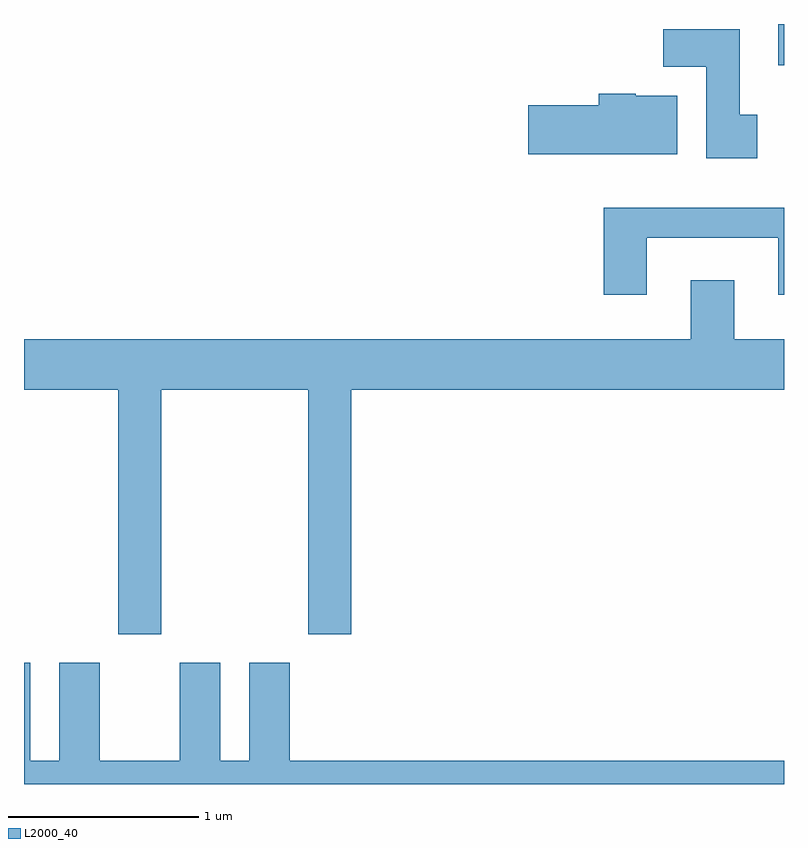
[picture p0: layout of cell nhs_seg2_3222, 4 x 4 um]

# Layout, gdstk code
import gdstk
lib = gdstk.Library(unit=1e-6, precision=1e-09)
def R(c, l, rs):  # rectangles x0, y0, x1, y1
    for r in rs: c.add(gdstk.rectangle(r[:2], r[2:], *l))
def P(c, l, *ps):  # polygons
    for p in ps: c.add(gdstk.Polygon(p, *l))
L2000_40 = (2000, 40)

nhs_seg2_3222 = lib.new_cell('nhs_seg2_3222')
R(nhs_seg2_3222, L2000_40, [(283.581,1045.586,283.611,1045.802)])
P(nhs_seg2_3222, L2000_40, [(283.469,1045.324),(283.379,1045.324),(283.379,1045.774),(282.976,1045.774),(282.976,1045.576),(283.201,1045.576),(283.201,1045.096),(283.469,1045.096)],
  [(283.049,1045.424),(282.83,1045.424),(282.83,1045.434),(282.636,1045.434),(282.636,1045.374),(282.266,1045.374),(282.266,1045.116),(283.049,1045.116)],
  [(282.889,1044.676),(283.581,1044.676),(283.581,1044.376),(283.611,1044.376),(283.611,1044.834),(282.661,1044.834),(282.661,1044.376),(282.889,1044.376)],
  [(280.334,1043.876),(281.106,1043.876),(281.106,1042.591),(281.334,1042.591),(281.334,1043.876),(283.611,1043.876),(283.611,1044.144),(283.349,1044.144),(283.349,1044.454),(283.121,1044.454),(283.121,1044.144),(279.611,1044.144),(279.611,1043.876),(280.106,1043.876),(280.106,1042.591),(280.334,1042.591)],
  [(283.611,1041.924),(281.009,1041.924),(281.009,1042.439),(280.796,1042.439),(280.796,1041.924),(280.644,1041.924),(280.644,1042.439),(280.431,1042.439),(280.431,1041.924),(280.009,1041.924),(280.009,1042.439),(279.796,1042.439),(279.796,1041.924),(279.644,1041.924),(279.644,1042.439),(279.611,1042.439),(279.611,1041.802),(283.611,1041.802)])

lib.write_gds('nhs_seg2_3222.gds')
